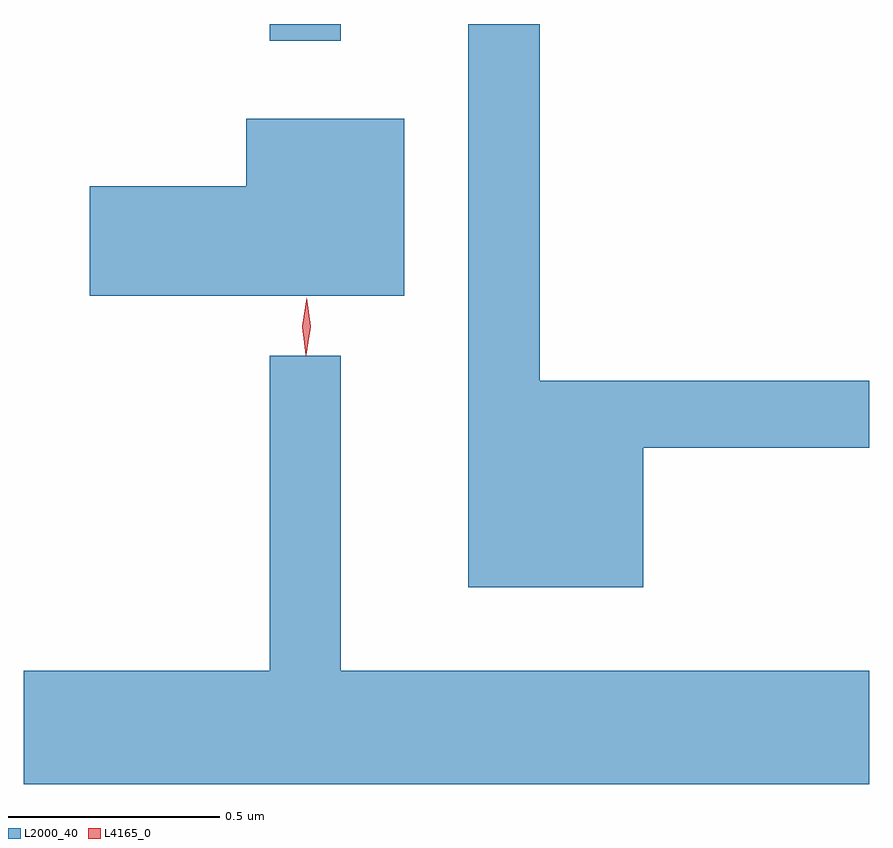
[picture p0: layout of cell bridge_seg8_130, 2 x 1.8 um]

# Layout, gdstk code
import gdstk
lib = gdstk.Library(unit=1e-6, precision=1e-09)
def R(c, l, rs):  # rectangles x0, y0, x1, y1
    for r in rs: c.add(gdstk.rectangle(r[:2], r[2:], *l))
def P(c, l, *ps):  # polygons
    for p in ps: c.add(gdstk.Polygon(p, *l))
L2000_40 = (2000, 40)
L4165_0 = (4165, 0)

bridge_seg8_130 = lib.new_cell('bridge_seg8_130')
R(bridge_seg8_130, L2000_40, [(1717.181,1871.473,1717.349,1871.513)])
P(bridge_seg8_130, L2000_40, [(1718.064,1870.511),(1718.599,1870.511),(1718.599,1870.669),(1717.819,1870.669),(1717.819,1871.513),(1717.651,1871.513),(1717.651,1870.181),(1718.064,1870.181)],
  [(1717.499,1871.289),(1717.126,1871.289),(1717.126,1871.129),(1716.756,1871.129),(1716.756,1870.871),(1717.499,1870.871)],
  [(1718.599,1869.984),(1717.349,1869.984),(1717.349,1870.728),(1717.181,1870.728),(1717.181,1869.984),(1716.599,1869.984),(1716.599,1869.716),(1718.599,1869.716)])
P(bridge_seg8_130, L4165_0, [(1717.266,1870.73),(1717.258,1870.798),(1717.268,1870.866),(1717.268,1870.866),(1717.269,1870.866),(1717.278,1870.798),(1717.267,1870.73),(1717.267,1870.73)],
  [(1717.266,1870.733),(1717.258,1870.796),(1717.268,1870.859),(1717.269,1870.86),(1717.269,1870.859),(1717.278,1870.796),(1717.267,1870.733),(1717.267,1870.733)])

lib.write_gds('bridge_seg8_130.gds')
